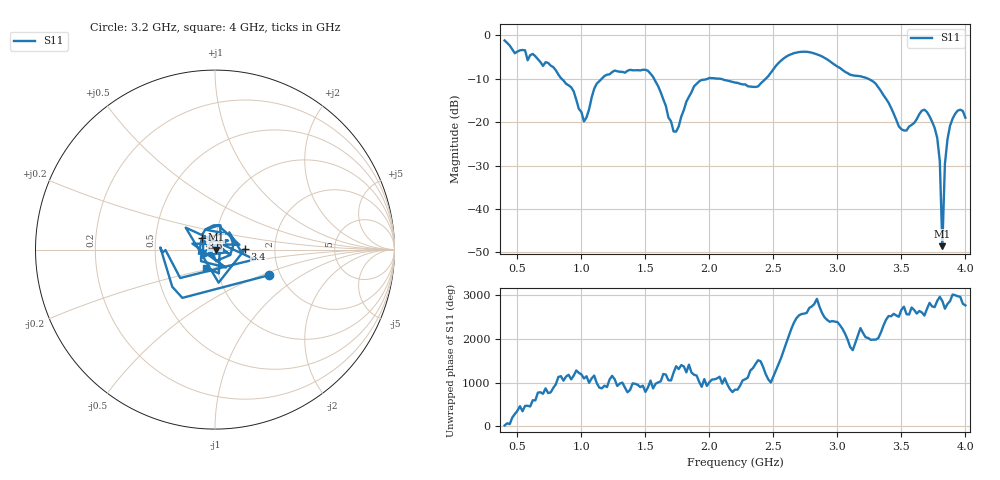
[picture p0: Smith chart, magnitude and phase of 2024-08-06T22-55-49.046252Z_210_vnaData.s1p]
!Created with skrf (http://scikit-rf.org).
# Hz S RI R 50.0
!freq ReS11 ImS11
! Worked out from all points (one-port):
!   181 points, 400 MHz to 4 GHz, reference 50 ohm
!   lowest |S11| = -48.6 dB at 3.82 GHz (marker M1), VSWR 1.01, Z = 50.4 - j0.105 ohm
!   |S11| at or under -10 dB: 1.567 GHz to 1.988 GHz (420.5 MHz wide, 23.7 % of centre); 2.081 GHz to 2.441 GHz (359.5 MHz wide, 15.9 % of centre); 3.239 GHz to end of sweep (the widest 3 of 4)
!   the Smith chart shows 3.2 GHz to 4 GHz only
!   S11 on the Smith chart (normalised r, x): 3.2 GHz: 1.74, -0.56; 3.4 GHz: 1.40, +0.00; 3.6 GHz: 0.86, +0.11; 4 GHz: 0.89, -0.18
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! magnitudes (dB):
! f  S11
! 400 MHz  -1.2
! 860 MHz  -10.4
! 940 MHz  -13.0
! 1.02 GHz  -19.9
! 1.12 GHz  -11.1
! 1.3 GHz  -8.4
! 1.52 GHz  -8.2
! 1.6 GHz  -11.8
! 1.72 GHz  -22.2
! 1.76 GHz  -21.0
! 1.92 GHz  -10.6
! 2.2 GHz  -10.9
! 2.38 GHz  -11.8
! 2.66 GHz  -4.1
! 3.1 GHz  -9.1
! 3.2 GHz  -9.6
! 3.4 GHz  -15.6
! 3.48 GHz  -21.0
! 3.56 GHz  -21.0
! 3.6 GHz  -20.2
! 3.68 GHz  -17.1
! 3.78 GHz  -23.6
! 3.8 GHz  -29.0
! 3.82 GHz  -48.6
! 3.84 GHz  -29.6
! 3.86 GHz  -24.0
! 3.94 GHz  -17.4
! 4 GHz  -19.0
